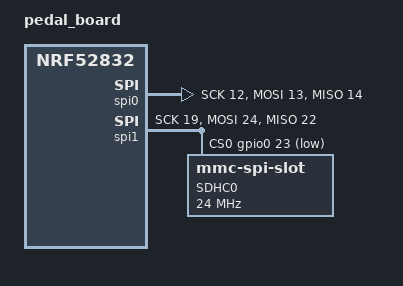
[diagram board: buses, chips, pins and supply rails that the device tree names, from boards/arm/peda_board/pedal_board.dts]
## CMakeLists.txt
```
# SPDX-License-Identifier: Apache-2.0

cmake_minimum_required(VERSION 3.20.0)

find_package(Zephyr REQUIRED HINTS $ENV{ZEPHYR_BASE})
project(hello_world)

target_sources(app PRIVATE src/main.c)

target_sources(app PRIVATE
  src/bmx160.c
  src/quaternion.c
  src/sensor_processing_lib.c
  src/vector_3d.c
)


zephyr_library_include_directories(.)
```

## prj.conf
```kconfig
# enable GPIO
CONFIG_GPIO=y

# Enable hardware stack protection
CONFIG_HW_STACK_PROTECTION=y

#Configure cloock
CONFIG_CLOCK_CONTROL=y

# Console
CONFIG_UART_CONSOLE=n
CONFIG_CONSOLE=y
CONFIG_USE_SEGGER_RTT=y
CONFIG_RTT_CONSOLE=y
CONFIG_LOG=y
CONFIG_LOG_MODE_DEFERRED=y
CONFIG_LOG_DEFAULT_LEVEL=4
CONFIG_LOG_BACKEND_RTT=y
CONFIG_LOG_BACKEND_RTT_BUFFER=0

# Heap memory
CONFIG_HEAP_MEM_POOL_SIZE=2048
# Some command handlers require a large stack.
CONFIG_SYSTEM_WORKQUEUE_STACK_SIZE=4096

# IMU Stuff...:
CONFIG_SPI=y
CONFIG_MAIN_STACK_SIZE=4096
# IMU 6-axis fusion (enables inclusion of 'math.h' library)
CONFIG_NEWLIB_LIBC=y
CONFIG_CBPRINTF_FP_SUPPORT=y
CONFIG_NEWLIB_LIBC_FLOAT_PRINTF=y
# additional board options
CONFIG_GPIO_AS_PINRESET=n

# debugging
#CONFIG_DEBUG_OPTIMIZATIONS=y
#CONFIG_DEBUG_THREAD_INFO=y

#esb
CONFIG_NCS_SAMPLES_DEFAULTS=y
CONFIG_ESB=y


# Beyond base settings
CONFIG_SPI=y
#CONFIG_NRFX_SPI=y

#CONFIG_NRFX_SPIM=y
#CONFIG_NRFX_SPI1=y
#CONFIG_NRFX_SPIM1=y

#CONFIG_SPI_NRFX_RAM_BUFFER_SIZE=64
CONFIG_DISK_ACCESS=y
CONFIG_FILE_SYSTEM=y
CONFIG_FAT_FILESYSTEM_ELM=y
```

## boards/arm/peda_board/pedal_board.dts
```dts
// Copyright (c) 2022 Nordic Semiconductor ASA
// SPDX-License-Identifier: Apache-2.0

/dts-v1/;
#include <nordic/nrf52832_qfaa.dtsi>

/ {
	model = "pedal_board";
	compatible = "pedal-board";

	chosen {
		zephyr,sram = &sram0;
		zephyr,flash = &flash0;
		zephyr,code-partition = &slot0_partition;
	};
};

&gpio0 {
	status = "okay";
};

&spi0 {
	compatible = "nordic,nrf-spi";
	/* BMX160 IMU sensor */
	status = "okay";
	sck-pin = <12>;
	mosi-pin = <13>;
	miso-pin = <14>;
	//cs-gpios = <&gpio0 11 GPIO_ACTIVE_LOW>;
};

&spi1 {
	compatible = "nordic,nrf-spi";
	status = "okay";
	sck-pin = <19>;
	mosi-pin = <24>;
	miso-pin = <22>;
	miso-pull-up;

	cs-gpios = <&gpio0 23 GPIO_ACTIVE_LOW>;

	sdhc0: sdhc@0 {
			compatible = "zephyr,mmc-spi-slot";
			reg = <0x0>;
			status = "okay";
			label = "SDHC0";
			spi-max-frequency = <24000000>;
	};
};




&flash0 {
	partitions {
		compatible = "fixed-partitions";
		#address-cells = <1>;
		#size-cells = <1>;

		boot_partition: partition@0 {
			label = "mcuboot";
			reg = <0x0 0xc000>;
		};
		slot0_partition: partition@c000 {
			label = "image-0";
			reg = <0xc000 0x32000>;
		};
		slot1_partition: partition@3e000 {
			label = "image-1";
			reg = <0x3e000 0x32000>;
		};
		scratch_partition: partition@70000 {
			label = "image-scratch";
			reg = <0x70000 0xa000>;
		};
		storage_partition: partition@7a000 {
			label = "storage";
			reg = <0x7a000 0x6000>;
		};
	};
};
```

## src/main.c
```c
/*
 * Copyright (c) 2012-2014 Wind River Systems, Inc.
 *
 * SPDX-License-Identifier: Apache-2.0
 */


#include <drivers/clock_control.h>
#include <drivers/clock_control/nrf_clock_control.h>
#include <irq.h>
#include <logging/log.h>
#include <nrf.h>
#include <esb.h>
#include <device.h>
#include <devicetree.h>
#include <zephyr/types.h>
#include <zephyr.h>
#include <sys/printk.h>
#include <drivers/gpio.h>
#include <drivers/spi.h>

#include <soc.h>
#include <settings/settings.h>
#include <stdio.h>

#include "bmx160.h"


#include "quaternion.h"
#include "sensor_processing_lib.h"
#include "vector_3d.h"


#include <storage/disk_access.h>
#include <fs/fs.h>
#include <ff.h>


/**
 * @brief 
 * SD Card Logging Section
 * 
 **/

static const char *disk_mount_pt = "/SD:";
char filename[255];
struct fs_file_t file;

static int lsdir(const char *path)
{
	int res;
	struct fs_dir_t dirp;
	static struct fs_dirent entry;

	fs_dir_t_init(&dirp);

	/* Verify fs_opendir() */
	res = fs_opendir(&dirp, path);
	if (res) {
		printk("Error opening dir %s [%d]\n", path, res);
		return res;
	}

	printk("\nListing dir %s ...\n", path);
	for (;;) {
		/* Verify fs_readdir() */
		res = fs_readdir(&dirp, &entry);

		/* entry.name[0] == 0 means end-of-dir */
		if (res || entry.name[0] == 0) {
			break;
		}

		if (entry.type == FS_DIR_ENTRY_DIR) {
			printk("[DIR ] %s\n", entry.name);
		} else {
			printk("[FILE] %s (size = %zu)\n",
				entry.name, entry.size);
		}
	}

	/* Verify fs_closedir() */
	fs_closedir(&dirp);

	return res;
}

static FATFS fat_fs;
/* mounting info */
static struct fs_mount_t mp = {
	.type = FS_FATFS,
	.fs_data = &fat_fs,
};


/***********SD CARD LOGGING***************/


#define SENSOR_READ_MS_THREAD   0.625 //ms = 1600 HZ
LOG_MODULE_REGISTER(app, CONFIG_LOG_DEFAULT_LEVEL);

static bool ready = true;
static struct esb_payload rx_payload;
static struct esb_payload tx_payload;

#define _RADIO_SHORTS_COMMON                                                   \
	(RADIO_SHORTS_READY_START_Msk | RADIO_SHORTS_END_DISABLE_Msk |         \
	 RADIO_SHORTS_ADDRESS_RSSISTART_Msk |                                  \
	 RADIO_SHORTS_DISABLED_RSSISTOP_Msk)

void event_handler(struct esb_evt const *event)
{
	ready = true;

	switch (event->evt_id) {
	case ESB_EVENT_TX_SUCCESS:
		LOG_DBG("TX SUCCESS EVENT");
		break;
	case ESB_EVENT_TX_FAILED:
		LOG_DBG("TX FAILED EVENT");
		break;
	case ESB_EVENT_RX_RECEIVED:
		while (esb_read_rx_payload(&rx_payload) == 0) {
			LOG_DBG("Packet received, len %d : "
				"0x%02x, 0x%02x, 0x%02x, 0x%02x, "
				"0x%02x, 0x%02x, 0x%02x, 0x%02x",
				rx_payload.length, rx_payload.data[0],
				rx_payload.data[1], rx_payload.data[2],
				rx_payload.data[3], rx_payload.data[4],
				rx_payload.data[5], rx_payload.data[6],
				rx_payload.data[7]);
		}
		break;
	}
}

int esb_initialize(void)
{
	int err;
	/* These are arbitrary default addresses. In end user products
	 * different addresses should be used for each set of devices.
	 */
	uint8_t base_addr_0[4] = {0xE7, 0xE7, 0xE7, 0xE7};
	uint8_t base_addr_1[4] = {0xC2, 0xC2, 0xC2, 0xC2};
	uint8_t addr_prefix[8] = {0xE7, 0xC2, 0xC3, 0xC4, 0xC5, 0xC6, 0xC7, 0xC8};

	struct esb_config config = ESB_DEFAULT_CONFIG;

	config.event_handler = event_handler;
	config.mode = ESB_MODE_PTX;
	config.selective_auto_ack = true;


	err = esb_init(&config);

	if (err) {
		return err;
	}

	err = esb_set_base_address_0(base_addr_0);
	if (err) {
		return err;
	}

	err = esb_set_base_address_1(base_addr_1);
	if (err) {
		return err;
	}

	err = esb_set_prefixes(addr_prefix, ARRAY_SIZE(addr_prefix));
	if (err) {
		return err;
	}

	return 0;
}

int clocks_start(void)
{
	int err;
	int res;
	struct onoff_manager *clk_mgr;
	struct onoff_client clk_cli;

	clk_mgr = z_nrf_clock_control_get_onoff(CLOCK_CONTROL_NRF_SUBSYS_HF);
	if (!clk_mgr) {
		LOG_ERR("Unable to get the Clock manager");
		return -ENXIO;
	}

	sys_notify_init_spinwait(&clk_cli.notify);

	err = onoff_request(clk_mgr, &clk_cli);
	if (err < 0) {
		LOG_ERR("Clock request failed: %d", err);
		return err;
	}

	do {
		err = sys_notify_fetch_result(&clk_cli.notify, &res);
		if (!err && res) {
			LOG_ERR("Clock could not be started: %d", res);
			return res;
		}
	} while (err);

	LOG_DBG("HF clock started");
	return 0;
}

/*****BMX160 IMU SPI*****/
bmx160_spi  bmxIMU_spi = {
	.spi_cfg = {
		.operation = SPI_WORD_SET(8) | SPI_TRANSFER_MSB,
		.frequency = 1000000,
		.slave = 0,
		},
	.spi_dev = NULL,
	.spi_cs_pin = 11,
	.gpio0_dev = NULL,
};

bmx160_sensor_data bmx160_data;

float delta,wx,wy,wz;
euler_angles angles;
vector_ijk fused_vector;
Quaternion q_acc; 
float pitch_angle;



/*****BMX160 IMU SPI*****/

  

void main(void)
{
	int err;
	int len;
	char* data;
	data = (char*)malloc(64 * sizeof(char));

	err = clocks_start();
 	if (err) {
		return;
	}



	if (device_get_binding("SPI_1") == NULL) {
		printk("Could not get %s device\n", "SPI_1");
		return;
	}
	
	/* raw disk i/o */
	do {
		static const char *disk_pdrv = "SD";
		uint64_t memory_size_mb;
		uint32_t block_count;
		uint32_t block_size;

		if (disk_access_init(disk_pdrv) != 0) {
			LOG_ERR("Storage init ERROR!");
			break;
		}

		if (disk_access_ioctl(disk_pdrv,
				DISK_IOCTL_GET_SECTOR_COUNT, &block_count)) {
			LOG_ERR("Unable to get sector count");
			break;
		}
		LOG_INF("Block count %u", block_count);

		if (disk_access_ioctl(disk_pdrv,
				DISK_IOCTL_GET_SECTOR_SIZE, &block_size)) {
			LOG_ERR("Unable to get sector size");
			break;
		}
		printk("Sector size %u\n", block_size);

		memory_size_mb = (uint64_t)block_count * block_size;
		printk("Memory Size(MB) %u\n", (uint32_t)(memory_size_mb >> 20));
	} while (0);	

	mp.mnt_point = disk_mount_pt;

	int res = fs_mount(&mp);

	if (res == FR_OK) {
		printk("Disk mounted.\n");
		lsdir(disk_mount_pt);
	} else {
		printk("Error mounting disk.\n");
	}

	fs_file_t_init(&file);

	snprintf(filename, sizeof(filename), "%s/test.txt", mp.mnt_point);




	/**
	 * @brief
	 * Initialize Sensor Object and communication port through SPI
	 **/
	
	bmxIMU_spi.gpio0_dev= device_get_binding("GPIO_0");
	gpio_pin_configure(bmxIMU_spi.gpio0_dev, bmxIMU_spi.spi_cs_pin, GPIO_OUTPUT | GPIO_ACTIVE_LOW);
	const char* const spiName0 = "SPI_0";
	bmxIMU_spi.spi_dev = device_get_binding(spiName0);

	if (bmxIMU_spi.spi_dev == NULL) {
		printk("Could not get %s device\n", spiName0);
		return;
	}
	else
		printk("Got SPI device\n");
	begin_bmx160(&bmxIMU_spi);
	k_msleep(1000);
	/**
	 * @brief
	 * Initial conditions for algorithm.
	 **/
	//fused_vector = vector_3d_initialize(0.0,0.0,-1.0);
	//q_acc = quaternion_initialize(1.0,0.0,0.0,0.0);


	/**
	 * @brief
	 * Onboard led for sync with video
	 **/
	gpio_pin_configure(device_get_binding("GPIO_0"), 7, GPIO_OUTPUT | GPIO_ACTIVE_LOW);
	gpio_pin_set(device_get_binding("GPIO_0"), 7, 1);
	k_msleep(1000);



	
	for (;;) {
    // Main entry point after IMU sensors and BLE init 

    // Read filtered BMX160 IMU data at 200MHZ and store it to the struct
	err = getData_bmx160(&bmxIMU_spi, &bmx160_data);
	if (bmx160_data.ax == 0)
	{
		gpio_pin_set(device_get_binding("GPIO_0"), 7, 0);
	}
	

	delta = 0.001f * SENSOR_READ_MS_THREAD;
	//  Serial.print("Time Delta: \t");
	//  Serial.print(delta,16);
	//  Serial.println();

	fused_vector = update_fused_vector(fused_vector,
									   bmx160_data.ax,bmx160_data.ay,bmx160_data.az,
									   bmx160_data.gx,bmx160_data.gy,bmx160_data.gz,
									   delta);

	q_acc = quaternion_from_accelerometer(fused_vector.a,fused_vector.b,fused_vector.c);
	angles = quaternion_to_euler_angles(q_acc);

	if(angles.yaw > 0 && angles.pitch > 0)
		pitch_angle = angles.pitch;
	else if(angles.yaw < 0 && angles.pitch > 0)
		pitch_angle = 180 - angles.pitch;
	else if(angles.yaw > 0 && angles.pitch < 0)
		pitch_angle = 180 - angles.pitch;    
	else if(angles.yaw < 0 && angles.pitch < 0)
		pitch_angle = 360 + angles.pitch;
	
	len = sprintf(data,"%f\n",pitch_angle);

	// len = sprintf(data, "G_B: %.3f, %.3f, %.3f\nA_B: %.3f, %.3f, %.3f", 
	// bmx160_data.gx, bmx160_data.gy, bmx160_data.gz,
	// bmx160_data.ax, bmx160_data.ay, bmx160_data.az);


	if(len > 0){
		res = fs_open(&file, filename, FS_O_CREATE | FS_O_RDWR);

		if (res < 0) {
			printk("FAIL: open %s: %d", filename, res);
			goto out;
		}

		res = fs_seek(&file, 0, FS_SEEK_END);
		if (res < 0) {
			printk("FAIL: seek %s: %d", filename, res);
			goto out;
		}	
		


		res = fs_write(&file, data, len);
		if (res < 0) {
			printk("FAIL: write %s: %d", filename, res);
			goto out;
		}
 out:
		res = fs_close(&file);
		if (res < 0) {
			printk("FAIL: close %s: %d", filename, res);
		}
	}

		
    // Sleep and wait for next cycle
	k_sleep(K_MSEC(6.25));
	}
}
```

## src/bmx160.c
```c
#include "bmx160.h"
#include "bmx160_reg.h"

static float accelRange =   BMX160_ACCEL_RAW;
static float gyroRange  =   BMX160_GYRO_SENSITIVITY_1000DPS*DEG_TO_RAD;

int begin_bmx160(bmx160_spi * bmxIMU_spi_p)
{
    uint8_t chipID = 0;

    readReg_bmx160(bmxIMU_spi_p, BMX160_STARTUP_WRITE_REG, NULL, 1);
    //writeReg_bmx160(bmxIMU_spi_p,BMX160_NV_CONF_REG,0b10000000);
    getChipID_bmx160(bmxIMU_spi_p, &chipID);
#if USE_BMI160
    if(chipID != BMI160_CHIP_ID)
    {
        return BMX160_WRONG_CHIP_ID;
    }
#elif USE_BMX160
    if(chipID != BMX160_CHIP_ID)
    {
        return BMX160_WRONG_CHIP_ID;
    }
#else
    #error Please Select only the sed CHIP in 'bmx160.h'
#endif

    /* Set accel to normal mode */
    setSensorMode_bmx160(bmxIMU_spi_p, bmx160_accel_normal_mode, BMX160_ACCEL_DELAY_MS);    
    /* Set gyro to normal mode */
    setSensorMode_bmx160(bmxIMU_spi_p, bmx160_gyro_normal_mode, BMX160_GRYO_DELAY_MS);  
#if (USE_BMX160 && !USE_BMI160)
    // /* Set mag to normal mode */
    setSensorMode_bmx160(bmxIMU_spi_p, bmx160_magn_lowpower_mode, BMX160_MAGN_DELAY_MS);
#elif (USE_BMX160 && USE_BMI160)
    #error Please Select only the sed CHIP in 'bmx160.h'
#endif

    //set accel and gyro data rate, bwp and range
    //Accel at 1600Hz, 3dB Cutoff frequency 80 Hz - Normal filter mode
    setAccel_ODR_BWP_bmx160(bmxIMU_spi_p, bmx160_accel_odr_1600, bmx160_accel_bwp_osr_1);
    //Gyro at 1600Hz, 3dB Cutoff frequceny 74.6 Hz - Normal filter mode
    setGyro_ODR_BWP_bmx160(bmxIMU_spi_p, bmx160_gyr_odr_1600, bmx160_gyr_bwp_osr_1);

    setAccelRange_bmx160(bmxIMU_spi_p, bmx160_accelRange_4g);
    setGyroRange_bmx160(bmxIMU_spi_p, bmx160_gyroRange_1000dps);

    //getData_bmx160(bmxIMU_spi_p, NULL);
    return BMX160_OK;
}

int getChipID_bmx160(bmx160_spi * bmxIMU_spi_p, uint8_t * chipID)
{
    int result;
    result = readReg_bmx160(bmxIMU_spi_p, BMX160_CHIP_ID_REG, chipID, 1);
    return result;
}

int getStatus_bmx160(bmx160_spi * bmxIMU_spi_p, bmx160_status_flags flagType, bool * flagSet)
{
    int result;
    uint8_t regRetVal;
    result = readReg_bmx160(bmxIMU_spi_p, BMX160_STATUS_REG, &regRetVal, 1);
    switch (flagType)
    {
    case bmx160_drdy_acc:
        if(((regRetVal & bmx160_drdy_acc) >> 7) == 1) *flagSet = true;
        break;
    case bmx160_drdy_gyr:
        if(((regRetVal & bmx160_drdy_gyr) >> 6) == 1) *flagSet = true;
        break;
    case bmx160_nvm_rdy:
        if(((regRetVal & bmx160_nvm_rdy) >> 4) == 1) *flagSet = true;
        break;
    case bmx160_foc:
        if(((regRetVal & bmx160_foc) >> 3) == 1) *flagSet = true;
        break;
    default:
        flagSet = false;
        break;
    }
    return result;
}

int getError_bmx160(bmx160_spi * bmxIMU_spi_p, bmx160_error_flags errType, bool * flagSet)
{
    int result;
    uint8_t regRetVal;
    result = readReg_bmx160(bmxIMU_spi_p, BMX160_ERR_REG, &regRetVal, 1);
    switch (errType)
    {
    case bmx160_drop_cmd_err:
        if(((regRetVal & 0b01000000) >> 6) == 1) *flagSet = true;
        break;
    case bmx160_fatal_err:
        if(((regRetVal & 0b00000001)) == 1) *flagSet = true;
        break;
    case bmx160_error_1:
        if(((regRetVal & 0b00000010) >> 1) == 1) *flagSet = true;
        break;
    case bmx160_error_2:
        if(((regRetVal & 0b00000100) >> 2) == 1) *flagSet = true;
        break;
    case bmx160_error_LPMintPFD:
        if(((regRetVal & 0b00000110) >> 1) == 0b00000011) *flagSet = true;
        break;
    case bmx160_ODRsNOmatch:
        if(((regRetVal & 0b00001100) >> 2) == 0b00000011) *flagSet = true;
        break;
    case bmx160_PDFinLPM:
        if(((regRetVal & 0b00001110) >> 1) == 0b00000111) *flagSet = true;
        break;

    default:
        flagSet = false;
        break;
    }
    return result;
}

void setAccel_ODR_BWP_bmx160(bmx160_spi * bmxIMU_spi_p, bmx160_accel_odr passVal_odr, bmx160_accel_osr passVal_osr)
{
    uint8_t sentVal = 0b0;
    sentVal = (uint8_t)(passVal_odr | passVal_osr);
    writeReg_bmx160(bmxIMU_spi_p, BMX160_ACC_CONF_REG, sentVal);
}

void setGyro_ODR_BWP_bmx160(bmx160_spi * bmxIMU_spi_p, bmx160_gyr_odr passVal_odr, bmx160_gyr_osr passVal_osr)
{
    uint8_t sentVal = 0b0;
    sentVal = (uint8_t)(passVal_odr | passVal_osr);
    writeReg_bmx160(bmxIMU_spi_p, BMX160_GYR_CONF_REG, sentVal);
}

void setAccelRange_bmx160(bmx160_spi * bmxIMU_spi_p, bmx160_accel_range passVal)
{
    uint8_t sentVal = 0b0;
    sentVal = (uint8_t)passVal;
    writeReg_bmx160(bmxIMU_spi_p, BMX160_ACC_RANGE_REG, sentVal);
    switch (passVal){
        case bmx160_accelRange_2g:
            accelRange = BMX160_ACCEL_MG_LSB_2G * G_CONST;
            break;
        case bmx160_accelRange_4g:
            accelRange = BMX160_ACCEL_MG_LSB_4G * G_CONST;
            break;
        case bmx160_accelRange_8g:
            accelRange = BMX160_ACCEL_MG_LSB_8G * G_CONST;
            break;
        case bmx160_accelRange_16g:
            accelRange = BMX160_ACCEL_MG_LSB_16G * G_CONST;
            break;
        default:
            accelRange = BMX160_ACCEL_MG_LSB_2G * G_CONST;
            break;
    }
}

void setGyroRange_bmx160(bmx160_spi * bmxIMU_spi_p, bmx160_gyro_range passVal)
{
    uint8_t sentVal = 0b0;
    sentVal = (uint8_t)passVal;
    writeReg_bmx160(bmxIMU_spi_p, BMX160_GYR_RANGE_REG, sentVal);
    switch (passVal){
        case bmx160_gyroRange_125dps:
            gyroRange = BMX160_GYRO_SENSITIVITY_125DPS;
            break;
        case bmx160_gyroRange_250dps:
            gyroRange = BMX160_GYRO_SENSITIVITY_250DPS;
            break;
        case bmx160_gyroRange_500dps:
            gyroRange = BMX160_GYRO_SENSITIVITY_500DPS;
            break;
        case bmx160_gyroRange_1000dps:
            gyroRange = BMX160_GYRO_SENSITIVITY_1000DPS;
            break;
        case bmx160_gyroRange_2000dps:
            gyroRange = BMX160_GYRO_SENSITIVITY_2000DPS;
            break;
        default:
            gyroRange = BMX160_GYRO_SENSITIVITY_250DPS;
            break;
    }
}

void softReset_bmx160(bmx160_spi * bmxIMU_spi_p)
{
    uint8_t data = (uint8_t)bmx160_soft_reset;
    writeReg_bmx160(bmxIMU_spi_p, BMX160_CMD_REG, data);
    k_sleep(K_MSEC(BMX160_SOFT_RESET_DELAY_MS));
}

void setSensorMode_bmx160(bmx160_spi * bmxIMU_spi_p, bmx160_commands_send passVal, uint8_t sleepTime)
{
    uint8_t data = (uint8_t)passVal;
    writeReg_bmx160(bmxIMU_spi_p, BMX160_CMD_REG, data);
    k_sleep(K_MSEC(sleepTime));
}

uint8_t do_foc_bmx160(bmx160_spi * bmxIMU_spi_p, int16_t *retOffsetVal, bool saveToNVM)
{
    //TODO
    return 0;
}

/*
float getAccX(bmx160_spi * bmxIMU_spi_p);
{
    uint8_t data[2] = {0};
    int16_t x=0,y=0,z=0;
    result = readReg(bmxIMU_spi_p, BMX160_MAG_X_LSB_REG, data, 20);
    x = (int16_t) (((uint16_t)data[1] << 8) | data[0]);


}*/
uint8_t getData_bmx160(bmx160_spi * bmxIMU_spi_p, bmx160_sensor_data * sen_data)
{
    int result;
    int16_t x=0,y=0,z=0; 
    if (sen_data == NULL)
    {
        return BMX160_E_NULL_PTR;
    }
    
#if USE_BMX160
    uint8_t data[20] = {0};
    result = readReg_bmx160(bmxIMU_spi_p, BMX160_MAG_X_LSB_REG, data, 20);
    
    x = (int16_t) (((uint16_t)data[9] << 8) | data[8]);
    y = (int16_t) (((uint16_t)data[11] << 8) | data[10]);
    z = (int16_t) (((uint16_t)data[13] << 8) | data[12]);
    sen_data->gx = (float)(x) * gyroRange;
    sen_data->gy = (float)(y) * gyroRange;
    sen_data->gz = (float)(z) * gyroRange;

    x = (int16_t) (((uint16_t)data[15] << 8) | data[14]);
    y = (int16_t) (((uint16_t)data[17] << 8) | data[16]);
    z = (int16_t) (((uint16_t)data[19] << 8) | data[18]);
    sen_data->ax = (float)(x) * accelRange;
    sen_data->ay = (float)(y) * accelRange;
    sen_data->az = (float)(z) * accelRange;
#elif USE_BMI160
    uint8_t data[12] = {0};
    result = readReg_bmx160(bmxIMU_spi_p, BMX160_GYR_X_LSB_REG, data, 12);
    
    x = (int16_t) (((uint16_t)data[1] << 8) | data[0]);
    y = (int16_t) (((uint16_t)data[3] << 8) | data[2]);
    z = (int16_t) (((uint16_t)data[5] << 8) | data[4]);
    sen_data->gx = (float)(x) * gyroRange;
    sen_data->gy = (float)(y) * gyroRange;
    sen_data->gz = (float)(z) * gyroRange;

    x = (int16_t) (((uint16_t)data[7] << 8) | data[6]);
    y = (int16_t) (((uint16_t)data[9] << 8) | data[8]);
    z = (int16_t) (((uint16_t)data[11] << 8) | data[10]);
    sen_data->ax = (float)(x) * accelRange;
    sen_data->ay = (float)(y) * accelRange;
    sen_data->az = (float)(z) * accelRange;
#else
    #error Please Select only the used CHIP in 'bmx160.h'
#endif

    return result;
}

int writeReg_bmx160(bmx160_spi * bmxIMU_spi_p, uint8_t reg, uint8_t data)
{
    int result;
	const struct spi_buf buf[2] = {
		{
			.buf = &reg,
			.len = 1,
		},
		{
			.buf = &data,
			.len = 1,
		}
	};
	const struct spi_buf_set tx = {
		.buffers = buf,
		.count = 2,
	};
	gpio_pin_set(bmxIMU_spi_p->gpio0_dev, bmxIMU_spi_p->spi_cs_pin, 1);

	//result = spi_write_dt(bus, &tx);
	result = spi_write(bmxIMU_spi_p->spi_dev, &bmxIMU_spi_p->spi_cfg, &tx);
	if (result) 
    {
        return result;
		//printk("SPI error: %d\n", result);
	}
    gpio_pin_set(bmxIMU_spi_p->gpio0_dev, bmxIMU_spi_p->spi_cs_pin, 0);
    return 0;
}

int readReg_bmx160(bmx160_spi * bmxIMU_spi_p, uint8_t reg, uint8_t *data, size_t len)
{
    int result;
	unsigned char tx_buffer[2] = { 0, 0};

	tx_buffer[0] = 0x80 | reg;

	const struct spi_buf tx_buf = {
		.buf = tx_buffer,
		.len = 1,
	};
	const struct spi_buf_set tx = {
		.buffers = &tx_buf,
		.count = 1,
	};

	struct spi_buf rx_buf[2] = {
		{
			.buf = tx_buffer,
			.len = 1,
		},
		{
			.buf = data,
			.len = len,
		}
	};

	const struct spi_buf_set rx = {
		.buffers = rx_buf,
		.count = 2,
	};
	gpio_pin_set(bmxIMU_spi_p->gpio0_dev, bmxIMU_spi_p->spi_cs_pin, 1);
	result = spi_transceive(bmxIMU_spi_p->spi_dev, &bmxIMU_spi_p->spi_cfg, &tx, &rx);
    gpio_pin_set(bmxIMU_spi_p->gpio0_dev, bmxIMU_spi_p->spi_cs_pin, 0);

	if (result) {
		return result;
	}

	return 0;
}

/*

void setLowPower(bmx160_spi * bmxIMU_spi_p)
{
    softReset(bmxIMU_spi_p);
    k_sleep(K_MSEC(100));
    setMagnConf(bmxIMU_spi_p);
    k_sleep(K_MSEC(100));
    Set accel to low power mode 
    writeReg(bmxIMU_spi_p, BMX160_COMMAND_REG_ADDR, BMX160_ACCEL_LOWPOWER_MODE);
    k_sleep(K_MSEC(100));
    Set gyro to low power mode 
    writeReg(bmxIMU_spi_p, BMX160_COMMAND_REG_ADDR, BMX160_GYRO_FASTSTARTUP_MODE);
    k_sleep(K_MSEC(100));
    Set mag to low power mode 
    writeReg(bmxIMU_spi_p, BMX160_COMMAND_REG_ADDR, BMX160_MAGN_LOWPOWER_MODE);
    k_sleep(K_MSEC(100));
}

void wakeUp(bmx160_spi * bmxIMU_spi_p)
{
    softReset(bmxIMU_spi_p);
    k_sleep(K_MSEC(100));
    setMagnConf(bmxIMU_spi_p);
    k_sleep(K_MSEC(100));
    Set accel to normal power mode 
    writeReg(bmxIMU_spi_p, BMX160_COMMAND_REG_ADDR, BMX160_ACCEL_NORMAL_MODE);
    k_sleep(K_MSEC(100));
    Set gyro to normal power mode 
    writeReg(bmxIMU_spi_p, BMX160_COMMAND_REG_ADDR, BMX160_GYRO_NORMAL_MODE);
    k_sleep(K_MSEC(100));
    Set mag to normal power mode 
    writeReg(bmxIMU_spi_p, BMX160_COMMAND_REG_ADDR, BMX160_MAGN_NORMAL_MODE);
    k_sleep(K_MSEC(100));
}
*/
```

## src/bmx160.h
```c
#ifndef BMX_160_H_
#define BMX_160_H_

#include <device.h>
#include <drivers/gpio.h>
#include <drivers/spi.h>
#include <sys/util.h>
#include <zephyr/types.h>

#include "bmx160_reg.h"

/**
 * @brief
 * BMI160 6-axis and BMX160 9-axis sensors
 * are register compatible. Adding BMI160
 * support to enable lower power applications.
 **/
 

#define USE_BMX160                      0
#define USE_BMI160                      1



/**
 * @brief TODO:
 * -make FOC function procedure (+ saving factors to NVM procedure)
 * -axis orientation setup
 * -error handler at lower layer for every function call (inside driver file)
 * -error handler at upper layer for every function call (inside main.c file)
 * -reset mode 
 * -low power modes
 */

/**
 * @struct bmx160_spi
 * @brief  holds all spi relevant data
 */
typedef struct{
	const struct spi_config spi_cfg;
	const struct device * spi_dev;
	const int spi_cs_pin;
	const struct device * gpio0_dev;
}bmx160_spi;

/**
 * @struct bmx160_sensor_data
 * @brief holds x/y/z accel and gyro sensor data
 */
typedef struct {
  float ax;           /**< X-axis sensor data */
  float ay;           /**< Y-axis sensor data */
  float az;           /**< Z-axis sensor data */

  float gx;           /**< X-axis sensor data */
  float gy;           /**< Y-axis sensor data */
  float gz;           /**< Z-axis sensor data */
}bmx160_sensor_data;

/**
 * @fn begin_bmx160
 * @brief Startup initalization process for the BMX160 IMU.
 * @return Returns true/false if reading succeeded
 */
int begin_bmx160(bmx160_spi * bmxIMU_spi_p); 

/**
 * @fn getChipID_bmx160
 * @brief Read Chip ID and pass it by reference
 * @return Returns true/false if reading succeeded
 */
int getChipID_bmx160(bmx160_spi * bmxIMU_spi_p, uint8_t *chipID); 

/**
 * @fn getStatus_bmx160
 * @brief Read BMX160 status flag by type and return by reference if it is set or not
 * @return Returns true/false if reading succeeded
 */
int getStatus_bmx160(bmx160_spi * bmxIMU_spi_p, bmx160_status_flags flagType, bool * flagSet); 

/**
 * @fn getError_bmx160
 * @brief Read BMX160 error flag by type and return by reference if it is set or not
 * @return Returns true/false if reading succeeded
 */
int getError_bmx160(bmx160_spi * bmxIMU_spi_p, bmx160_error_flags errType, bool * flagSet);

/**
 * @fn setAccelDataRate_bmx160
 * @brief sets BMX160 accelerometer odr and bwp
 */
void setAccel_ODR_BWP_bmx160(bmx160_spi * bmxIMU_spi_p, bmx160_accel_odr passVal_odr, bmx160_accel_osr passVal_osr);

/**
 * @fn setGyro_ODR_BWP_bmx160
 * @brief sets BMX160 gyroscope odr and bwp
 */
void setGyro_ODR_BWP_bmx160(bmx160_spi * bmxIMU_spi_p, bmx160_gyr_odr passVal_odr, bmx160_gyr_osr passVal_osr);

/**
 * @fn setAccelRange_bmx160
 * @brief sets BMX160 accelerometer g range
 */
void setAccelRange_bmx160(bmx160_spi * bmxIMU_spi_p, bmx160_accel_range passVal);

/**
 * @fn setGyroRange_bmx160
 * @brief sets BMX160 gyroscope dps range
 */
void setGyroRange_bmx160(bmx160_spi * bmxIMU_spi_p, bmx160_gyro_range passVal);

/**
 * @fn softReset_bmx160bmx160_spi
 * @brief resets BMX160 imu
 */
void softReset_bmx160(bmx160_spi * bmxIMU_spi_p);

/**
 * @fn setSensorMode_bmx160
 * @brief sets BMX160 mode for one of the sensors to suspend/normal/faststartup/lowpower mode
 */
void setSensorMode_bmx160(bmx160_spi * bmxIMU_spi_p, bmx160_commands_send passVal, uint8_t sleepTime);

/**
 * @fn do_foc_bmx160
 * @brief Fast offset configuration with options to save to Non volatile memory and to return offset values
 * @return returns 0 if successful
 * @retval 0 if successful
 * @retval error if rading failed
 */
uint8_t do_foc_bmx160(bmx160_spi * bmxIMU_spi_p, int16_t *retOffsetVal, bool saveToNVM);

/**
 * @fn getAllData_bmx160
 * @brief get the gyro and accel data 
 * @return returns 0 if  successful
 * @retval 0 if successful
 * @retval error if rading failed
 */
uint8_t getData_bmx160(bmx160_spi * bmxIMU_spi_p, bmx160_sensor_data * sen_data);

/**
 * @fn readReg
 * @brief get the sensor IIC data
 * @param reg register
 * @param pBuf write the store and buffer of the data
 * @param len data length to be readed
 */
int readReg_bmx160(bmx160_spi * bmxIMU_spi_p, uint8_t reg, uint8_t *data, size_t len);

/**
 * @fn writeReg
 * @brief write the sensor IIC data
 * @param reg register
 * @param pBuf write the store and buffer of the data
 * @param len data length to be written 
 * @return return the actually written length
 * @fn writeBmxReg
 * @brief Write data to the BMX register
 * @param reg register
 * @param value  Data written to the BMX register
 * @return return the actually written length
 */
int writeReg_bmx160(bmx160_spi * bmxIMU_spi_p, uint8_t reg, uint8_t data);

#endif /* BMX_160_H */
```

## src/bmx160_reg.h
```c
#ifndef BMX_160_REG_H_
#define BMX_160_REG_H_


#define NUM_OF_DATA_READ                20
#define BMX160_SOFT_RESET_DELAY_MS      50
#define BMX160_ACCEL_DELAY_MS           4
#define BMX160_GRYO_DELAY_MS            80
#define BMX160_MAGN_DELAY_MS            1

#define G_CONST                         9.81f
#define DEG_TO_RAD                      0.0174533f

/** Error code definitions */
#define BMX160_OK                                0
#define BMX160_E_NULL_PTR                        -1
#define BMX160_E_COM_FAIL                        -2
#define BMX160_E_DEV_NOT_FOUND                   -3
#define BMX160_E_OUT_OF_RANGE                    -4
#define BMX160_E_INVALID_INPUT                   -5
#define BMX160_E_ACCEL_ODR_BW_INVALID            -6
#define BMX160_E_GYRO_ODR_BW_INVALID             -7
#define BMX160_E_LWP_PRE_FLTR_INT_INVALID        -8
#define BMX160_E_LWP_PRE_FLTR_INVALID            -9
#define BMX160_E_MAGN_NOT_FOUND                  -10
#define BMX160_FOC_FAILURE                       -11
#define BMX160_ERR_CHOOSE                        -12
#define BMX160_WRONG_CHIP_ID                     -99

#define BMX160_CHIP_ID                  0xD8
#define BMI160_CHIP_ID                  0xD1

#define BMX160_NVM_PROG_EN              0x02
#define BMX160_GYRO_OFFSET_ENABLE       0x80
#define BMX160_ACCEL_OFFSET_ENABLE      0x40

#define BMX160_ACCEL_RAW            1.000000000F
#define BMX160_ACCEL_MG_LSB_2G      0.000061035F   ///< Macro for mg per LSB at +/- 2g sensitivity (1 LSB = 0.000061035mg) */
#define BMX160_ACCEL_MG_LSB_4G      0.000122070F   ///< Macro for mg per LSB at +/- 4g sensitivity (1 LSB = 0.000122070mg) */
#define BMX160_ACCEL_MG_LSB_8G      0.000244141F   ///< Macro for mg per LSB at +/- 8g sensitivity (1 LSB = 0.000244141mg) */
#define BMX160_ACCEL_MG_LSB_16G     0.000488281F   ///< Macro for mg per LSB at +/- 16g sensitivity (1 LSB = 0.000488281mg) */



#define BMX160_GYRO_RAW                     1.0000000F ///< Use raw gyroscope data */      
#define BMX160_GYRO_SENSITIVITY_125DPS      0.0038110F ///< Gyroscope sensitivity at 125dps */
#define BMX160_GYRO_SENSITIVITY_250DPS      0.0076220F ///< Gyroscope sensitivity at 250dps */
#define BMX160_GYRO_SENSITIVITY_500DPS      0.0152439F ///< Gyroscope sensitivity at 500dps */
#define BMX160_GYRO_SENSITIVITY_1000DPS     0.0304878F ///< Gyroscope sensitivity at 1000dps */
#define BMX160_GYRO_SENSITIVITY_2000DPS     0.0609756F ///< Gyroscope sensitivity at 2000dps */

//General registers:
#define BMX160_STARTUP_WRITE_REG    0x7F
#define BMX160_CHIP_ID_REG          0x00
#define BMX160_ERR_REG              0x02
#define BMX160_STATUS_REG           0x1B
#define BMX160_ACC_CONF_REG         0x40
#define BMX160_ACC_RANGE_REG        0x41
#define BMX160_GYR_CONF_REG         0x42
#define BMX160_GYR_RANGE_REG        0x43
#define BMX160_FOC_CONF_REG         0x69
#define BMX160_CONF_REG             0x6A    //Enable NVM programming
#define BMX160_NV_CONF_REG          0x70
#define BMX160_CMD_REG              0x7E

//Data registers:
#define BMX160_MAG_X_LSB_REG        0x04
#define BMX160_MAG_X_MSB_REG        0x05
#define BMX160_MAG_Y_LSB_REG        0x06
#define BMX160_MAG_Y_MSB_REG        0x07
#define BMX160_MAG_Z_LSB_REG        0x08
#define BMX160_MAG_Z_MSB_REG        0x09
#define BMX160_RHALL_LSB_REG        0x0A
#define BMX160_RHALL_MSB_REG        0x0B
#define BMX160_GYR_X_LSB_REG        0x0C
#define BMX160_GYR_X_MSB_REG        0x0D
#define BMX160_GYR_Y_LSB_REG        0x0E
#define BMX160_GYR_Y_MSB_REG        0x0F
#define BMX160_GYR_Z_LSB_REG        0x10
#define BMX160_GYR_Z_MSB_REG        0x11
#define BMX160_ACC_X_LSB_REG        0x12
#define BMX160_ACC_X_MSB_REG        0x13
#define BMX160_ACC_Y_LSB_REG        0x14
#define BMX160_ACC_Y_MSB_REG        0x15
#define BMX160_ACC_Z_LSB_REG        0x16
#define BMX160_ACC_Z_MSB_REG        0x17

//Offset registers:
#define BMX160_OFFSET_ACC_X           0x71
#define BMX160_OFFSET_ACC_Y           0x72
#define BMX160_OFFSET_ACC_Z           0x73
#define BMX160_OFFSET_GYR_X           0x74
#define BMX160_OFFSET_GYR_Y           0x75
#define BMX160_OFFSET_GYR_Z           0x76

//Must mask bwp with odr before being written to BMX160_ACC_CONF_REG
/**
 * @enum bmx160_accel_osr
 */
typedef enum{
    bmx160_accel_bwp_osr_1      = (0x20),
    bmx160_accel_bwp_osr_2      = (0x10),
    bmx160_accel_bwp_osr_4      = (0x00)
} bmx160_accel_osr;

/**
 * @enum bmx160_accel_odr
 */
typedef enum{
    bmx160_accel_odr_12_5       = (0x05),
    bmx160_accel_odr_25         = (0x06),
    bmx160_accel_odr_50         = (0x07),
    bmx160_accel_odr_100        = (0x08),
    bmx160_accel_odr_200        = (0x09),
    bmx160_accel_odr_400        = (0x0A),
    bmx160_accel_odr_800        = (0x0B),
    bmx160_accel_odr_1600       = (0x0C)
} bmx160_accel_odr;

//Must mask bwp with odr before being written to BMX160_GYR_CONF_REG
/**
 * @enum bmx160_gyr_osr
 */
typedef enum{
    bmx160_gyr_bwp_osr_1    = (0x20),
    bmx160_gyr_bwp_osr_2    = (0x10),
    bmx160_gyr_bwp_osr_4    = (0x00)
} bmx160_gyr_osr;
/**
 * @enum bmx160_gyr_odr
 */
typedef enum{
    bmx160_gyr_odr_25       = (0x06),
    bmx160_gyr_odr_50       = (0x07),
    bmx160_gyr_odr_100      = (0x08),
    bmx160_gyr_odr_200      = (0x09),
    bmx160_gyr_odr_400      = (0x0A),
    bmx160_gyr_odr_800      = (0x0B),
    bmx160_gyr_odr_1600     = (0x0C),
    bmx160_gyr_odr_3200     = (0x0D)
} bmx160_gyr_odr;

/**
 * @enum bmx160_accel_range
 */
typedef enum{
    bmx160_accelRange_2g        = (0x03),
    bmx160_accelRange_4g        = (0x05),
    bmx160_accelRange_8g        = (0x08),
	bmx160_accelRange_16g       = (0x0C)
} bmx160_accel_range;

/**
 * @enum bmx160_gyro_range
 */
typedef enum{
    bmx160_gyroRange_2000dps        = (0x00),
    bmx160_gyroRange_1000dps        = (0x01),
    bmx160_gyroRange_500dps         = (0x02),
	bmx160_gyroRange_250dps         = (0x03),
	bmx160_gyroRange_125dps         = (0x04)
} bmx160_gyro_range;

typedef enum{
    bmx160_accel_normal_mode            = (0x11),
    bmx160_accel_lowpower_mode          = (0x12),
    bmx160_accel_suspend_mode           = (0x10),

    bmx160_gyro_suspend_mode           = (0x14),
    bmx160_gyro_normal_mode            = (0x15),
    bmx160_gyro_faststartup_mode       = (0x17),

    bmx160_magn_suspend_mode            = (0x18),
    bmx160_magn_normal_mode             = (0x19),
    bmx160_magn_lowpower_mode           = (0x1A),

    bmx160_start_foc                    = (0x03),
    bmx160_prog_nvm                     = (0xA0),
    bmx160_soft_reset                   = (0xB6)
}bmx160_commands_send;

//Mask values as peer data sheet
typedef enum{
    bmx160_foc_gyr_en                   = (0x40),

    bmx160_foc_acc_x_disabled           = (0x00),
    bmx160_foc_acc_x_p1g                = (0x10),
    bmx160_foc_acc_x_n1g                = (0x20),
    bmx160_foc_acc_x_0g                 = (0x30),

    bmx160_foc_acc_y_disabled           = (0x00),
    bmx160_foc_acc_y_p1g                = (0x04),
    bmx160_foc_acc_y_n1g                = (0x08),
    bmx160_foc_acc_y_0g                 = (0x0C),

    bmx160_foc_acc_z_disabled           = (0x00),
    bmx160_foc_acc_z_p1g                = (0x01),
    bmx160_foc_acc_z_n1g                = (0x02),
    bmx160_foc_acc_z_0g                 = (0x03),
}bmx160_foc_conf;

//Mask values before reading flags
typedef enum{
    bmx160_drdy_acc         = (0x80),       // Accelerometer data ready
    bmx160_drdy_gyr         = (0x40),       // Gyroscope data ready
    bmx160_nvm_rdy          = (0x20),       // NVM controller status ("0" NVM write in progress, "1" NVM ready to accept new write reg)
    bmx160_foc              = (0x08),       // FOC completed
}bmx160_status_flags;


//Mask values before reading flags
typedef enum{
    bmx160_drop_cmd_err         = (0x40),       // Dropped command to CMD(0x7E)
    bmx160_error_1              = (0x02),       // Error 1
    bmx160_error_2              = (0x04),       // Error 2
    bmx160_error_LPMintPFD      = (0x06),       // Low power mode and int uses pre-filtered data
    bmx160_ODRsNOmatch          = (0x0C),       // ODRs of enabled sensor in header-less mode do not match
    bmx160_PDFinLPM             = (0x0E),       // Prefiltered data are used in low power mode
    bmx160_fatal_err            = (0x01)        // Chip not operable
}bmx160_error_flags;


#endif /* BMX_160_REG_H_ */
```

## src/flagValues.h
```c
#ifndef FLAG_VALUES_H
#define FLAG_VALUES_H

#include <stdio.h>

/*
    List od ble read commands
*/

uint8_t startStream_cmd[10];
uint8_t stopStream_cmd[10];
uint8_t reset_cmd[10];
uint8_t bmxIMU_cmd[10];
uint8_t icmIMU_cmd[10];

bool startStopStream_flag = true;
bool reset_flag = false;
bool bmxIMU_flag = false;
bool icmIMU_flag = true;

void initCmds()
{
    //Start/stop command
    sprintf(startStream_cmd, "start");
    sprintf(stopStream_cmd, "stop");
    //Reset command
    sprintf(reset_cmd, "reset");
    //Send BMX160 IMU data  command
    sprintf(bmxIMU_cmd, "bmx");
    //Send ICM IMU data command
    sprintf(icmIMU_cmd, "icm");
}

void checkCmd(const uint8_t *const data, uint16_t len)
{
  //Start cmd:
  if(memcmp(&startStream_cmd, data, len) == 0)
  {
    startStopStream_flag = true;
    reset_flag = false;
    bmxIMU_flag = false;
    icmIMU_flag = false;
    return;
  }
  //Stop cmd:
  if(memcmp(&stopStream_cmd, data, len) == 0)
  {
    startStopStream_flag = false;
    reset_flag = false;
    bmxIMU_flag = false;
    icmIMU_flag = false;
    return;
  }
  //Reset cmd:
  if(memcmp(&reset_cmd, data, len) == 0)
  {
    reset_flag = true;
    bmxIMU_flag = false;
    icmIMU_flag = false;
    return;
  }
  //BMX160 cmd:
  if(memcmp(&bmxIMU_cmd, data, len) == 0)
  {
    bmxIMU_flag = true;
    icmIMU_flag = false;
    reset_flag = false;
    return;
  }
  //ICM42688 cmd:
  if(memcmp(&icmIMU_cmd, data, len) == 0)
  {
    icmIMU_flag = true;
    bmxIMU_flag = false;
    reset_flag = false;
    return;
  }
}
#endif /* FLAG_VALUES_H */
```

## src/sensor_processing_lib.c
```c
#include "sensor_processing_lib.h"


Quaternion quaternion_from_accelerometer(float ax, float ay, float az)
{
    /*vector_ijk gravity = vector_3d_initialize(0.0f, 0.0f, -1.0f);
    vector_ijk accelerometer = vector_3d_initialize(ax, ay, az);
    Quaternion orientation = quaternion_between_vectors(gravity,accelerometer);
    return orientation;*/
    //float norm_u_norm_v = 1.0;
    float cos_theta = -1.0*az;
    //float half_cos = sqrt(0.5*(1.0 + cos_theta));
    float half_cos = 0.7071*sqrt(1.0 + cos_theta);
    Quaternion orientation;
    orientation.a = half_cos;
    //float temp = 1/(2.0*half_cos);
    float temp = 0.5/half_cos;
    orientation.b = -ay*temp;
    orientation.c = ax*temp;
    orientation.d = 0.0;
    return orientation;
}

// Symbolize degrees of rotation in quaternion universe (take integral of gyro data)
Quaternion quaternion_from_gyro(float wx, float wy, float wz, float time)
{
    // wx,wy,wz in radians per second: time in seconds
    float alpha = 0.5*time;
    float a,b,c,d;
    b = alpha*(-wx);
    c = alpha*(-wy);
    d = alpha*(-wz);
    a = 1 - 0.5*(b*b+c*c+d*d);
    Quaternion result = quaternion_initialize(a,b,c,d);
    return result;
}

float fusion_coeffecient(vector_ijk virtual_gravity, vector_ijk sensor_gravity)
{
    float dot = vector_3d_dot_product(sensor_gravity,virtual_gravity);
    /**
     * dot is cosine of the angle between gyro gravity vector
     * and accel gravity vector returns
     * cos() <= ~16.5deg  then increase gyro gravity vector weight
     * 
     * This eliminates accel jiggle using gyro
     * 
     * Adjust these to change the effect of gyro sensor
     * 
     **/
    if (dot<=0.96)
        return 40.0;

    return 10.0;
}

vector_ijk sensor_gravity_normalized(int16_t ax, int16_t ay, int16_t az)
{
    vector_ijk result;
    result.a = ax;
    result.b = ay;
    result.c = az;
    result = vector_3d_normalize(result);
    return result;
}

vector_ijk fuse_vector(vector_ijk virtual_gravity, vector_ijk sensor_gravity)
{
    float fusion = fusion_coeffecient(virtual_gravity, sensor_gravity);
    virtual_gravity = vector_3d_scale(virtual_gravity,fusion);
    vector_ijk result = vector_3d_sum(virtual_gravity,sensor_gravity);
    result = vector_3d_normalize(result);
    return result;
}

vector_ijk update_gravity_vector(vector_ijk gravity_vector,float wx,float wy,float wz,float delta)
{
    Quaternion q_gyro = quaternion_from_gyro(wx,wy,wz,delta);
    // Rotate ,initially (0,0,-1), if rotational speed is present
    gravity_vector = quaternion_rotate_vector(gravity_vector,q_gyro);
    return gravity_vector;
}

vector_ijk update_fused_vector(vector_ijk fused_vector, int16_t ax, int16_t ay, int16_t az,float wx,float wy,float wz,float delta)
{
    // virtual_gravity is rotated fused_vector using data from gyro
    vector_ijk virtual_gravity = update_gravity_vector(fused_vector,wx,wy,wz,delta);
    // sensor_gravity is normalized accel data
    vector_ijk sensor_gravity = sensor_gravity_normalized(ax,ay,az);
    fused_vector = fuse_vector(virtual_gravity,sensor_gravity);
    return fused_vector;
}
```

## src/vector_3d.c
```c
#include "vector_3d.h"
#include <math.h>
#include <stdint.h>

vector_ijk vector_3d_initialize(float a, float b, float c)
{
    vector_ijk v;
    v.a = a;
    v.b = b;
    v.c = c;
    return v;
}

vector_ijk vector_3d_sum(vector_ijk v1, vector_ijk v2)
{
    vector_ijk v;
    v.a = v1.a + v2.a;
    v.b = v1.b + v2.b;
    v.c = v1.c + v2.c;
    return v;
}

vector_ijk vector_3d_difference(vector_ijk v1, vector_ijk v2)
{
    vector_ijk v;
    v.a = v1.a - v2.a;
    v.b = v1.b - v2.b;
    v.c = v1.c - v2.c;
    return v;
}

float vector_3d_dot_product(vector_ijk v1, vector_ijk v2)
{
    return (v1.a*v2.a + v1.b*v2.b + v1.c*v2.c);

}


vector_ijk vector_3d_cross_product(vector_ijk v1, vector_ijk v2)
{
    vector_ijk v;
    v.a = v1.b*v2.c - v1.c*v2.b;
    v.b = v1.c*v2.a - v1.a*v2.c;
    v.c = v1.a*v2.b - v1.b*v2.a;
    return v;
}

vector_ijk vector_3d_normalize(vector_ijk v1)
{
    vector_ijk v2;
    float one_by_sqrt;
    one_by_sqrt = InvSqrt(v1.a*v1.a + v1.b*v1.b + v1.c*v1.c);
    v2.a = v1.a*one_by_sqrt;
    v2.b = v1.b*one_by_sqrt;
    v2.c = v1.c*one_by_sqrt;
    return v2;
}

vector_ijk vector_3d_scale(vector_ijk v1, float scale)
{
    vector_ijk v2;
    v2.a = v1.a*scale;
    v2.b = v1.b*scale;
    v2.c = v1.c*scale;
    return v2;
}

float InvSqrt(float x)
{
   uint32_t i = 0x5F1F1412 - (*(uint32_t*)&x >> 1);
   float tmp = *(float*)&i;
   return tmp * (1.69000231f - 0.714158168f * x * tmp * tmp);
}
```

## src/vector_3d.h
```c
#ifdef __cplusplus
extern "C" {
#endif

#ifndef VECTOR_3D_INCLUDED
#define VECTOR_3D_INCLUDED

#include <math.h> 

typedef struct vector_ijk {

    float a;
    float b;
    float c;

    // v = ai + bj + ck

} vector_ijk;

vector_ijk vector_3d_initialize(float a, float b, float c);
vector_ijk vector_3d_sum(vector_ijk v1, vector_ijk v2);
vector_ijk vector_3d_difference(vector_ijk v1, vector_ijk v2);
float vector_3d_dot_product(vector_ijk v1, vector_ijk v2);
vector_ijk vector_3d_cross_product(vector_ijk v1, vector_ijk v2);
vector_ijk vector_3d_normalize(vector_ijk v);
vector_ijk vector_3d_scale(vector_ijk v1, float scale);
float InvSqrt(float x);

#endif

#ifdef __cplusplus
}
#endif
```
